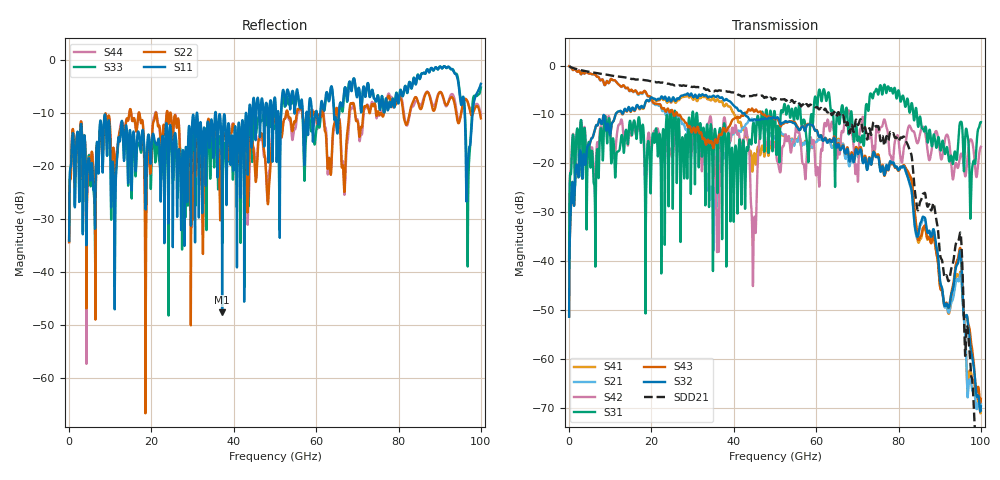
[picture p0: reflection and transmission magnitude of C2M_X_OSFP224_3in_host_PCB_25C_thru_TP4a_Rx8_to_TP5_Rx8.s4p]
# GHz S RI R 45
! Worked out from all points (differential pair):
!   4000 points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, 25 MHz to 100 GHz, reference 45 ohm
!   strongest paths, dB at 25 MHz, 25.02 GHz, 50.02 GHz, 75.03 GHz, 100 GHz:
!     S32: -51.4, -6.9, -10.8, -18.6, -69.7
!     S43: -0.1, -9.1, -11.0, -18.3, -68.1
!     S31: -39.7, -14.6, -10.1, -5.9, -11.6
!     S42: -39.6, -18.8, -16.2, -13.4, -16.6
!     S21: -0.1, -9.5, -14.4, -18.5, -69.2
!     S41: -51.3, -7.2, -15.8, -18.1, -70.8
!   taken as a pair (ports 3,1 in; 4,2 out), SDD21 dB: -0.1, -3.9, -6.7, -12.4, -75.8
!   lowest |S11| = -47.6 dB at 37.17 GHz (marker M1), VSWR 1.01, Z = 45.4 - j0.133 ohm
!   |S11| at or under -10 dB: start of sweep to 31.03 GHz; 31.1 GHz to 35.5 GHz (4.396 GHz wide, 13.2 % of centre); 35.65 GHz to 42.96 GHz (7.31 GHz wide, 18.6 % of centre) (the widest 3 of 19)
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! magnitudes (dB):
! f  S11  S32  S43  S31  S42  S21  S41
! 25 MHz  -34.1  -51.4  -0.1  -39.7  -39.6  -0.1  -51.3
! 7.05 GHz  -19.7  -12.0  -2.3  -19.9  -16.7  -2.3  -12.0
! 37.17 GHz  -47.6  -6.5  -13.7  -35.5  -14.1  -19.7  -7.3
! 44.9 GHz  -7.3  -11.0  -9.4  -11.9  -32.2  -11.6  -18.2
! 46.9 GHz  -7.4  -10.9  -9.9  -9.4  -12.5  -12.6  -16.4
! 81.22 GHz  -6.3  -20.6  -20.4  -6.5  -17.2  -20.7  -20.5
! 100 GHz  -4.5  -69.7  -68.1  -11.6  -16.6  -69.2  -70.8
